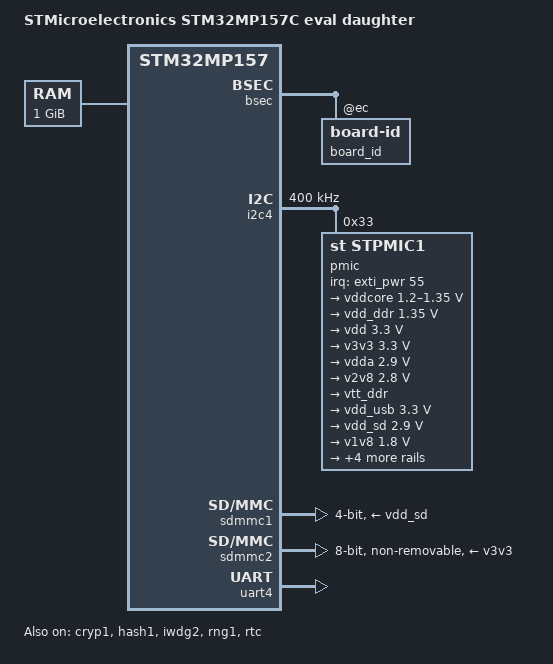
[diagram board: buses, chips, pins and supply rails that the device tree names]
// SPDX-License-Identifier: (GPL-2.0+ OR BSD-3-Clause)
/*
 * Copyright (c) 2017-2025, STMicroelectronics - All Rights Reserved
 * Author: Ludovic Barre <ludovic.barre@st.com> for STMicroelectronics.
 */
/dts-v1/;

#include "stm32mp157.dtsi"
#include "stm32mp15xc.dtsi"
#include "stm32mp15-pinctrl.dtsi"
#include "stm32mp15xxaa-pinctrl.dtsi"
#include <dt-bindings/clock/stm32mp1-clksrc.h>
#include "stm32mp15-ddr3-2x4Gb-1066-binG.dtsi"

/ {
	model = "STMicroelectronics STM32MP157C eval daughter";
	compatible = "st,stm32mp157c-ed1", "st,stm32mp157";

	aliases {
		serial0 = &uart4;
	};

	chosen {
		stdout-path = "serial0:115200n8";
	};

	memory@c0000000 {
		device_type = "memory";
		reg = <0xC0000000 0x40000000>;
	};
};

&bsec {
	board_id: board-id@ec {
		reg = <0xec 0x4>;
		st,non-secure-otp;
	};
};

&clk_hse {
	st,digbypass;
};

&cpu0 {
	cpu-supply = <&vddcore>;
};

&cpu1 {
	cpu-supply = <&vddcore>;
};

&cryp1 {
	status = "okay";
};

&hash1 {
	status = "okay";
};

&i2c4 {
	pinctrl-names = "default";
	pinctrl-0 = <&i2c4_pins_a>;
	i2c-scl-rising-time-ns = <185>;
	i2c-scl-falling-time-ns = <20>;
	clock-frequency = <400000>;
	status = "okay";

	pmic: stpmic@33 {
		compatible = "st,stpmic1";
		reg = <0x33>;
		interrupts-extended = <&exti_pwr 55 IRQ_TYPE_EDGE_FALLING>;
		interrupt-controller;
		#interrupt-cells = <2>;
		status = "okay";

		regulators {
			compatible = "st,stpmic1-regulators";
			ldo1-supply = <&v3v3>;
			ldo2-supply = <&v3v3>;
			ldo3-supply = <&vdd_ddr>;
			ldo5-supply = <&v3v3>;
			ldo6-supply = <&v3v3>;
			pwr_sw1-supply = <&bst_out>;
			pwr_sw2-supply = <&bst_out>;

			vddcore: buck1 {
				regulator-name = "vddcore";
				regulator-min-microvolt = <1200000>;
				regulator-max-microvolt = <1350000>;
				regulator-always-on;
				regulator-initial-mode = <0>;
				regulator-over-current-protection;
			};

			vdd_ddr: buck2 {
				regulator-name = "vdd_ddr";
				regulator-min-microvolt = <1350000>;
				regulator-max-microvolt = <1350000>;
				regulator-always-on;
				regulator-initial-mode = <0>;
				regulator-over-current-protection;
			};

			vdd: buck3 {
				regulator-name = "vdd";
				regulator-min-microvolt = <3300000>;
				regulator-max-microvolt = <3300000>;
				regulator-always-on;
				st,mask-reset;
				regulator-initial-mode = <0>;
				regulator-over-current-protection;
			};

			v3v3: buck4 {
				regulator-name = "v3v3";
				regulator-min-microvolt = <3300000>;
				regulator-max-microvolt = <3300000>;
				regulator-always-on;
				regulator-over-current-protection;
				regulator-initial-mode = <0>;
			};

			vdda: ldo1 {
				regulator-name = "vdda";
				regulator-min-microvolt = <2900000>;
				regulator-max-microvolt = <2900000>;
			};

			v2v8: ldo2 {
				regulator-name = "v2v8";
				regulator-min-microvolt = <2800000>;
				regulator-max-microvolt = <2800000>;
			};

			vtt_ddr: ldo3 {
				regulator-name = "vtt_ddr";
				regulator-always-on;
				regulator-over-current-protection;
				st,regulator-sink-source;
			};

			vdd_usb: ldo4 {
				regulator-name = "vdd_usb";
				regulator-min-microvolt = <3300000>;
				regulator-max-microvolt = <3300000>;
			};

			vdd_sd: ldo5 {
				regulator-name = "vdd_sd";
				regulator-min-microvolt = <2900000>;
				regulator-max-microvolt = <2900000>;
				regulator-boot-on;
			};

			v1v8: ldo6 {
				regulator-name = "v1v8";
				regulator-min-microvolt = <1800000>;
				regulator-max-microvolt = <1800000>;
			};

			vref_ddr: vref_ddr {
				regulator-name = "vref_ddr";
				regulator-always-on;
			};

			bst_out: boost {
				regulator-name = "bst_out";
			};

			vbus_otg: pwr_sw1 {
				regulator-name = "vbus_otg";
			};

			vbus_sw: pwr_sw2 {
				regulator-name = "vbus_sw";
				regulator-active-discharge = <1>;
			};
		};
	};
};

&iwdg2 {
	timeout-sec = <32>;
	status = "okay";
};

&pwr_regulators {
	vdd-supply = <&vdd>;
	vdd_3v3_usbfs-supply = <&vdd_usb>;
};

&rcc {
	st,clksrc = <
		CLK_MPU_PLL1P
		CLK_AXI_PLL2P
		CLK_MCU_PLL3P
		CLK_RTC_LSE
		CLK_CKPER_HSE
		CLK_FMC_ACLK
		CLK_QSPI_ACLK
		CLK_SDMMC12_PLL4P
		CLK_STGEN_HSE
		CLK_I2C46_HSI
		CLK_UART24_HSI
	>;

	st,clkdiv = <
		DIV(DIV_MPU, 1)
		DIV(DIV_AXI, 0)
		DIV(DIV_MCU, 0)
		DIV(DIV_APB1, 1)
		DIV(DIV_APB2, 1)
		DIV(DIV_APB3, 1)
		DIV(DIV_APB4, 1)
		DIV(DIV_APB5, 2)
		DIV(DIV_RTC, 23)
	>;

	st,pll_vco {
		pll2_vco_1066Mhz: pll2-vco-1066Mhz {
			src = <CLK_PLL12_HSE>;
			divmn = <2 65>;
			frac = <0x1400>;
		};

		pll3_vco_417Mhz: pll3-vco-417Mhz {
			src = <CLK_PLL3_HSE>;
			divmn = <1 33>;
			frac = <0x1a04>;
		};

		pll4_vco_594Mhz: pll4-vco-594Mhz {
			src = <CLK_PLL4_HSE>;
			divmn = <3 98>;
		};
	};

	/* VCO = 1066.0 MHz => P = 266 (AXI), Q = 533 (GPU), R = 533 (DDR) */
	pll2: st,pll@1 {
		compatible = "st,stm32mp1-pll";
		reg = <1>;

		st,pll = <&pll2_cfg1>;

		pll2_cfg1: pll2_cfg1 {
			st,pll_vco = <&pll2_vco_1066Mhz>;
			st,pll_div_pqr = <1 0 0>;
		};
	};

	/* VCO = 417.8 MHz => P = 209, Q = 24, R = 11 */
	pll3: st,pll@2 {
		compatible = "st,stm32mp1-pll";
		reg = <2>;

		st,pll = <&pll3_cfg1>;

		pll3_cfg1: pll3_cfg1 {
			st,pll_vco = <&pll3_vco_417Mhz>;
			st,pll_div_pqr = <1 16 36>;
		};
	};

	/* VCO = 594.0 MHz => P = 99, Q = 74, R = 74 */
	pll4: st,pll@3 {
		compatible = "st,stm32mp1-pll";
		reg = <3>;

		st,pll = <&pll4_cfg1>;

		pll4_cfg1: pll4_cfg1 {
			st,pll_vco = <&pll4_vco_594Mhz>;
			st,pll_div_pqr = <5 7 7>;
		};
	};
};

&rng1 {
	status = "okay";
};

&rtc {
	status = "okay";
};

&sdmmc1 {
	pinctrl-names = "default";
	pinctrl-0 = <&sdmmc1_b4_pins_a &sdmmc1_dir_pins_a>;
	disable-wp;
	st,sig-dir;
	st,neg-edge;
	st,use-ckin;
	bus-width = <4>;
	vmmc-supply = <&vdd_sd>;
	sd-uhs-sdr12;
	sd-uhs-sdr25;
	sd-uhs-sdr50;
	sd-uhs-ddr50;
	status = "okay";
};

&sdmmc2 {
	pinctrl-names = "default";
	pinctrl-0 = <&sdmmc2_b4_pins_a &sdmmc2_d47_pins_a>;
	non-removable;
	no-sd;
	no-sdio;
	st,neg-edge;
	bus-width = <8>;
	vmmc-supply = <&v3v3>;
	vqmmc-supply = <&vdd>;
	mmc-ddr-3_3v;
	status = "okay";
};

&uart4 {
	pinctrl-names = "default";
	pinctrl-0 = <&uart4_pins_a>;
	status = "okay";
};
